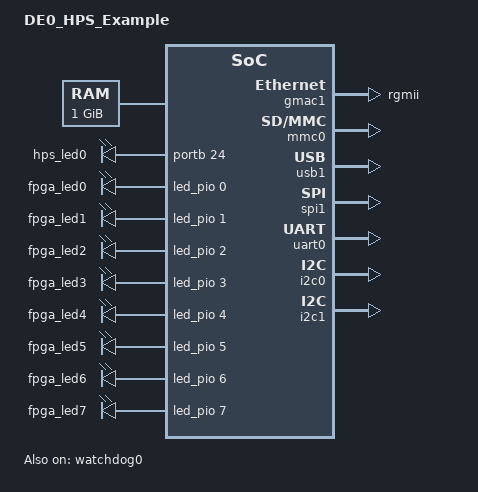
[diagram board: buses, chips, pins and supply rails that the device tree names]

/include/ "socfpga_cyclone5.dtsi"

/ {
      model = "DE0_HPS_Example";
      compatible = "altr,socfpga-cyclone5", "altr,socfpga";

      chosen {
         bootargs = "console=ttyS0,115200";
      };

      aliases {
         ethernet0 = &gmac1;
         udc0 = &usb1;
      };

      memory {
         name = "memory";
         device_type = "memory";
         reg = <0x0 0x40000000>; /* 1GB */
      };

      soc {
         u-boot,dm-pre-reloc;

      ////////////////////////////////////////////////////////////////////
      //
      // copied and adapted 
      // from 'DE0_HPS_Example.donotuse.dts', created via make example_dts
      //
      hps_0_bridges: bridge@0xc0000000 {
         compatible = "altr,bridge-16.1", "simple-bus";
         reg = <0xc0000000 0x20000000>,
               <0xff200000 0x00200000>;
         reg-names = "axi_h2f", "axi_h2f_lw";
         #address-cells = <2>;
         #size-cells = <1>;
         ranges = <0x00000001 0x00000020 0xff200020 0x00000008>,
                  <0x00000001 0x00000010 0xff200010 0x00000010>,
                  <0x00000001 0x00000000 0xff200000 0x00000010>;

         // See https://github.com/torvalds/linux/blob/master/Documentation/devicetree/bindings/gpio/gpio-altera.txt
         sw_pio: gpio@0x100000000 {
            compatible = "altr,pio-16.1", "altr,pio-1.0";
            reg = <0x00000001 0x00000000 0x00000010>;
            altr,ngpio = <4>;
            resetvalue = <0>;
            #gpio-cells = <2>;
            #interrupt-cells = <1>;
            gpio-controller;
            label = "sw_pio";   
         };

         led_pio: gpio@0x100000010 {
            compatible = "altr,pio-16.1", "altr,pio-1.0";
            reg = <0x00000001 0x00000010 0x00000010>;
            altr,ngpio = <8>;
            resetvalue = <0>;
            #gpio-cells = <2>;
            gpio-controller;
            label = "led_pio";   
         };

			pb_pio: gpio@0x100000030 {
				compatible = "altr,pio-16.1", "altr,pio-1.0";
				reg = <0x00000001 0x00000020 0x00000010>;
            altr,ngpio = <2>;
				resetvalue = <0>;
				#gpio-cells = <2>;
				gpio-controller;
			};

         sysid_qsys_0: sysid@0x100000020 {
            compatible = "altr,sysid-16.1", "altr,sysid-1.0";
            reg = <0x00000001 0x00000030 0x00000008>;
            id = <1193046>;
				timestamp = <1504817015>;
         };

      }; //end bridge


      soc_leds: leds {
         compatible = "gpio-leds";   

        led_hps0: hps0 {
           label = "hps_led0";
           gpios = <&portb 24 0>;
        }; //end hps0 (led_hps0)


         led_fpga0: fpga0 {
            label = "fpga_led0";
            gpios = <&led_pio 0 0>;
         }; //end fpga0 (led_fpga0)

         led_fpga1: fpga1 {
            label = "fpga_led1";
            gpios = <&led_pio 1 0>;
         }; //end fpga1 (led_fpga1)

         led_fpga2: fpga2 {
            label = "fpga_led2";
            gpios = <&led_pio 2 0>;
         }; //end fpga2 (led_fpga2)

         led_fpga3: fpga3 {
            label = "fpga_led3";
            gpios = <&led_pio 3 0>;
         }; //end fpga3 (led_fpga3)

         led_fpga4: fpga4 {
            label = "fpga_led4";
            gpios = <&led_pio 4 0>;
         }; //end fpga4 (led_fpga4)

         led_fpga5: fpga5 {
            label = "fpga_led5";
            gpios = <&led_pio 5 0>;
         }; //end fpga5 (led_fpga5)

         led_fpga6: fpga6 {
            label = "fpga_led6";
            gpios = <&led_pio 6 0>;
         }; //end fpga6 (led_fpga6)

         led_fpga7: fpga7 {
            label = "fpga_led7";
            gpios = <&led_pio 7 0>;
         }; //end fpga7 (led_fpga7)
      }; //end leds (soc_leds)

      //
      ////////////////////////////////////////////////////////////////////

   };

};

&gmac1 {
   status = "okay";
   phy-mode = "rgmii";
   rxd0-skew-ps = <420>;
   rxd1-skew-ps = <420>;
   rxd2-skew-ps = <420>;
   rxd3-skew-ps = <420>;
   txen-skew-ps = <0>;
   txc-skew-ps = <1860>;
   rxdv-skew-ps = <420>;
   rxc-skew-ps = <1680>;
};


&mmc0 {
   status = "okay";
   u-boot,dm-pre-reloc;
};

&usb1 {
   status = "okay";
};

&spi1 {
    status = "okay";
};


&uart0 {
    status = "okay";
};

&i2c0 {
    status = "okay";
};

&i2c1 {
    status = "okay";
};

&gpio0 {
   status = "okay";
};

&gpio1 {
   status = "okay";
};

&gpio2 {
   status = "okay";
};

&watchdog0 {
   status = "okay";
};


// vim: filetype=cpp et ts=3 sw=3 sts=3

